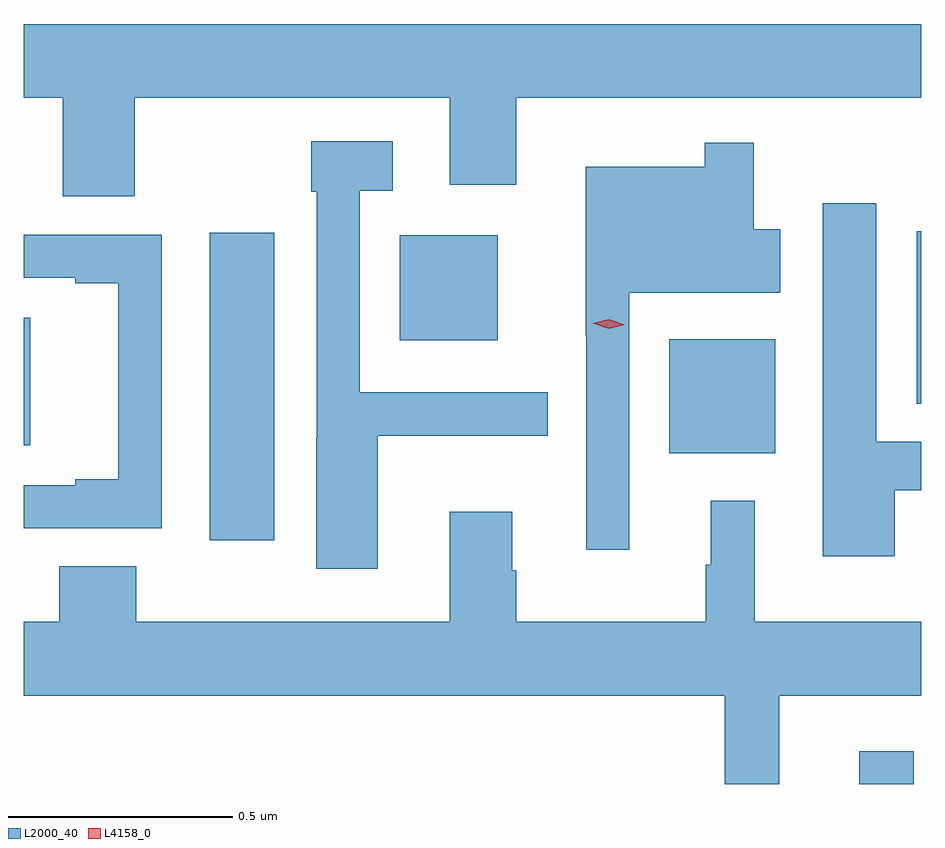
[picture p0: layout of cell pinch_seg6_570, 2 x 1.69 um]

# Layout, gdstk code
import gdstk
lib = gdstk.Library(unit=1e-6, precision=1e-09)
def R(c, l, rs):  # rectangles x0, y0, x1, y1
    for r in rs: c.add(gdstk.rectangle(r[:2], r[2:], *l))
def P(c, l, *ps):  # polygons
    for p in ps: c.add(gdstk.Polygon(p, *l))
L2000_40 = (2000, 40)
L4158_0 = (4158, 0)

pinch_seg6_570 = lib.new_cell('pinch_seg6_570')
R(pinch_seg6_570, L2000_40, [(619.667,995.091,619.789,995.164), (618.221,995.634,618.364,996.319), (619.244,995.828,619.48,996.082), (617.806,995.846,617.821,996.13), (619.796,995.938,619.806,996.322), (618.644,996.08,618.862,996.313)])
P(pinch_seg6_570, L2000_40, [(618.054,996.62),(618.755,996.62),(618.755,996.426),(618.904,996.426),(618.904,996.62),(619.806,996.62),(619.806,996.784),(617.806,996.784),(617.806,996.62),(617.893,996.62),(617.893,996.4),(618.054,996.4)],
  [(618.595,995.867),(618.974,995.867),(618.974,995.964),(618.555,995.964),(618.555,996.413),(618.628,996.413),(618.628,996.523),(618.447,996.523),(618.447,996.41),(618.459,996.41),(618.459,995.861),(618.458,995.861),(618.458,995.571),(618.595,995.571)],
  [(619.155,996.185),(619.492,996.185),(619.492,996.327),(619.432,996.327),(619.432,996.52),(619.323,996.52),(619.323,996.466),(619.058,996.466),(619.058,996.089),(619.059,996.089),(619.059,995.613),(619.155,995.613)],
  [(619.747,995.745),(619.806,995.745),(619.806,995.853),(619.705,995.853),(619.705,996.385),(619.586,996.385),(619.586,995.598),(619.747,995.598)],
  [(618.114,996.315),(617.806,996.315),(617.806,996.219),(617.921,996.219),(617.921,996.207),(618.017,996.207),(618.017,995.77),(617.921,995.77),(617.921,995.757),(617.806,995.757),(617.806,995.661),(618.114,995.661)],
  [(619.489,995.288),(619.806,995.288),(619.806,995.452),(619.435,995.452),(619.435,995.722),(619.337,995.722),(619.337,995.579),(619.326,995.579),(619.326,995.452),(618.903,995.452),(618.903,995.567),(618.895,995.567),(618.895,995.698),(618.755,995.698),(618.755,995.452),(618.057,995.452),(618.057,995.576),(617.885,995.576),(617.885,995.452),(617.806,995.452),(617.806,995.288),(619.368,995.288),(619.368,995.091),(619.489,995.091)])
P(pinch_seg6_570, L4158_0, [(619.109,996.105),(619.074,996.117),(619.073,996.117),(619.074,996.117),(619.11,996.126),(619.145,996.114),(619.145,996.114),(619.145,996.114)])

lib.write_gds('pinch_seg6_570.gds')
